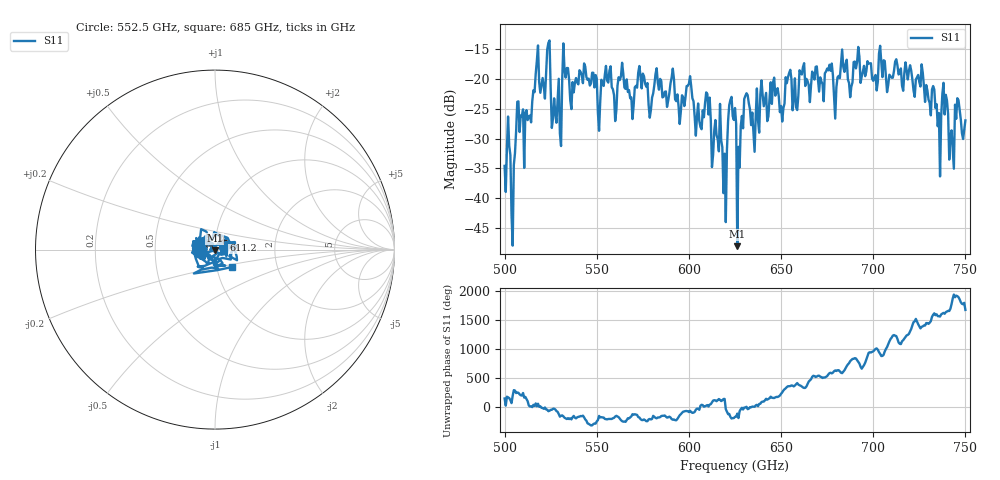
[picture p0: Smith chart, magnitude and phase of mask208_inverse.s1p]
!Created with skrf (http://scikit-rf.org).
# GHz S MA R 50.0
!freq magS11 angS11
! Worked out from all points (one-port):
!   401 points, 500 GHz to 750 GHz, reference 50 ohm
!   lowest |S11| = -48.1 dB at 626.2 GHz (marker M1), VSWR 1.01, Z = 49.9 - j0.377 ohm
!   |S11| at or under -10 dB: start of sweep to end of sweep
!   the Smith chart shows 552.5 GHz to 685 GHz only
!   S11 on the Smith chart (normalised r, x): 552.5 GHz: 0.82, -0.04; 611.2 GHz: 1.09, +0.11; 685 GHz: 1.18, -0.23
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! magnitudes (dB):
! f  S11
! 500 GHz  -34.6
! 504.4 GHz  -48.0
! 507.5 GHz  -23.7
! 511.9 GHz  -25.2
! 517.5 GHz  -16.9
! 523.8 GHz  -13.9
! 526.9 GHz  -23.2
! 531.2 GHz  -20.2
! 533.1 GHz  -19.7
! 552.5 GHz  -20.1
! 562.5 GHz  -20.2
! 593.8 GHz  -22.6
! 611.2 GHz  -23.1
! 619.4 GHz  -32.6
! 622.5 GHz  -23.5
! 625 GHz  -24.9
! 626.2 GHz  -48.1
! 631.2 GHz  -22.4
! 635 GHz  -28.8
! 656.2 GHz  -25.2
! 685 GHz  -17.4
! 687.5 GHz  -23.0
! 718.8 GHz  -20.1
! 735.6 GHz  -25.7
! 738.8 GHz  -25.9
! 742.5 GHz  -28.6
! 745.6 GHz  -23.2
! 750 GHz  -27.0
